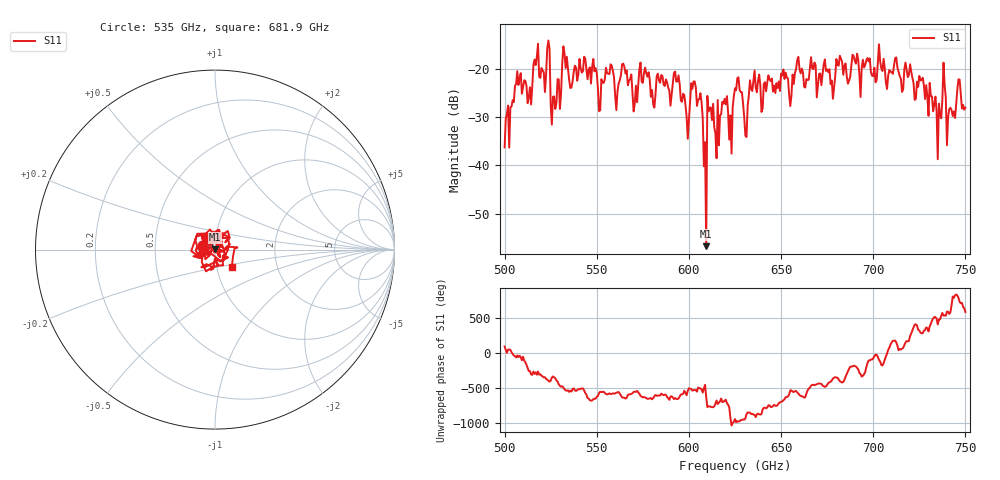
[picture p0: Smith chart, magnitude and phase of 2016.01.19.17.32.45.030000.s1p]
!Created with skrf (http://scikit-rf.org).
# GHz S RI R 50.0
!freq ReS11 ImS11
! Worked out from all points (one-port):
!   401 points, 500 GHz to 750 GHz, reference 50 ohm
!   lowest |S11| = -56.7 dB at 609.4 GHz (marker M1), VSWR 1.00, Z = 50 + j0.146 ohm
!   |S11| at or under -10 dB: start of sweep to end of sweep
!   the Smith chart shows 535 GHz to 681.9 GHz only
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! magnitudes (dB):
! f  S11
! 500 GHz  -36.3
! 507.5 GHz  -23.4
! 513.8 GHz  -23.9
! 516.9 GHz  -19.3
! 523.8 GHz  -14.2
! 526.2 GHz  -25.8
! 531.2 GHz  -19.1
! 562.5 GHz  -22.4
! 570.6 GHz  -27.2
! 574.4 GHz  -22.7
! 580.6 GHz  -27.4
! 593.8 GHz  -22.6
! 599.4 GHz  -34.5
! 602.5 GHz  -22.6
! 609.4 GHz  -56.7
! 611.2 GHz  -28.1
! 622.5 GHz  -29.7
! 625 GHz  -24.1
! 630.6 GHz  -33.9
! 634.4 GHz  -24.6
! 656.2 GHz  -21.2
! 687.5 GHz  -21.7
! 718.8 GHz  -21.8
! 735.6 GHz  -27.3
! 738.1 GHz  -18.8
! 741.2 GHz  -28.4
! 746.2 GHz  -22.2
! 750 GHz  -28.1
